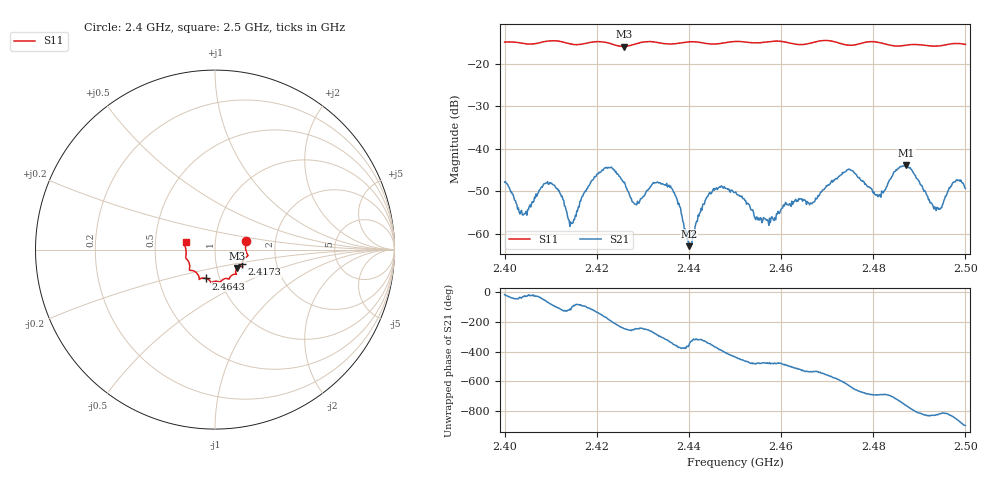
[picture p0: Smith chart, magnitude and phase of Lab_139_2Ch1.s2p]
# Hz S RI R 50
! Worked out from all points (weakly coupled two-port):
!   601 points, 2.4 GHz to 2.5 GHz, reference 50 ohm
!   highest |S21| = -43.91 dB at 2.4872 GHz (marker M1); lowest = -63.0 dB at 2.44 GHz (marker M2)
!   lowest |S11| = -15.9 dB at 2.4258 GHz (marker M3), VSWR 1.38, Z = 62.3 - j13.2 ohm
!   |S11| at or under -10 dB: start of sweep to end of sweep
!   S12 and S22 are empty: the file has one direction only
!   S11 on the Smith chart (normalised r, x): 2.4 GHz: 1.41, +0.14; 2.4173 GHz: 1.34, -0.23; 2.4643 GHz: 0.86, -0.28; 2.5 GHz: 0.72, +0.06
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2.4e9  0.1732 0.0492  0.00392 -0.00101  0 0  0 0
2.404333e9  0.1712 0.0216  0.0016 -0.000651  0 0  0 0
2.408833e9  0.181 -0.0274  0.00229 -0.00315  0 0  0 0
2.414333e9  0.1633 -0.0496  -0.000642 -0.00121  0 0  0 0
2.416667e9  0.1527 -0.0746  4.41e-05 -0.00262  0 0  0 0
2.417333e9  0.1521 -0.0819  -0.000166 -0.00303  0 0  0 0
2.422167e9  0.1505 -0.0946  -0.00598 -0.000795  0 0  0 0
2.425833e9  0.1217 -0.1036  -0.00179 0.00356  0 0  0 0
2.428667e9  0.1153 -0.1289  -0.000856 0.002  0 0  0 0
2.433333e9  0.1129 -0.137  0.00134 0.00375  0 0  0 0
2.436667e9  0.0894 -0.1468  0.00303 0.000434  0 0  0 0
2.44e9  0.0795 -0.1631  0.00071 2.96e-05  0 0  0 0
2.444833e9  0.0571 -0.1612  0.00294 0.000295  0 0  0 0
2.45e9  0.0293 -0.1808  0.000707 -0.00296  0 0  0 0
2.457167e9  -0.0146 -0.181  -0.000717 -0.00123  0 0  0 0
2.464333e9  -0.0499 -0.1606  -0.00245 -0.000748  0 0  0 0
2.466667e9  -0.0758 -0.1596  -0.00224 -0.000118  0 0  0 0
2.4745e9  -0.1016 -0.1309  -0.000554 0.00562  0 0  0 0
2.483333e9  -0.1407 -0.09  0.00364 0.00176  0 0  0 0
2.487167e9  -0.1561 -0.0554  0.00448 -0.00453  0 0  0 0
2.493667e9  -0.1613 -0.00586  -0.000515 -0.0018  0 0  0 0
2.5e9  -0.1637 0.0422  -0.0034 -7.98e-05  0 0  0 0
